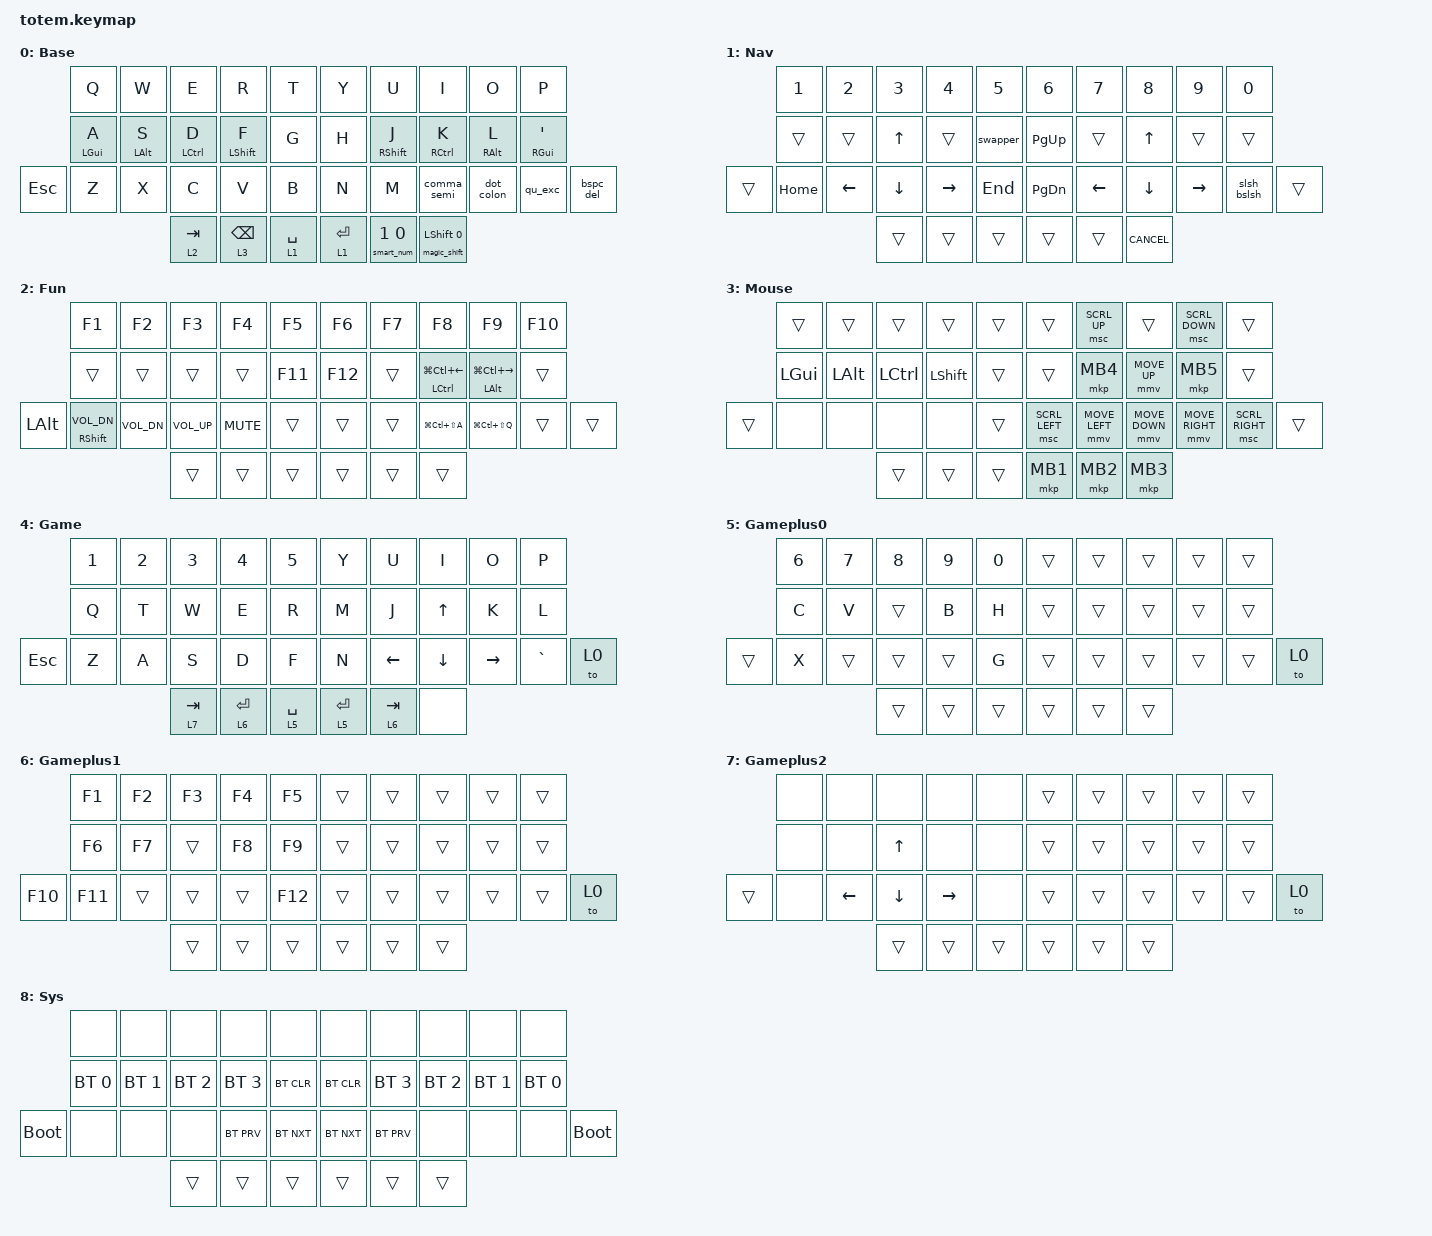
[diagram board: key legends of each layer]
#include <behaviors.dtsi>
#include <dt-bindings/zmk/keys.h>
#include <dt-bindings/zmk/bt.h>
#include <dt-bindings/zmk/outputs.h>
#include <behaviors/num_word.dtsi>
#include <dt-bindings/zmk/pointing.h>

#include "zmk-helpers/helper.h"
#include "zmk-helpers/key-labels/totem.h"
#include "behaviors/combos.dtsi"


// DEFINE LAYERS
#define Base        0
#define Nav		    1
#define Fun		    2
#define Mouse		3
#define Game		4
#define Gameplus0	5
#define Gameplus1	6
#define Gameplus2	7
#define Sys		    8


    // DEFINE Trans/None behavior
	#define ___ &trans
	#define XXX &none

	#define QUICK_TAP_MS 175

/* Home Row Mods */
		#define KEYS_L 4 3 2 1 0 14 13 12 11 10 25 24 23 22 21 20			// left-hand keys
		#define KEYS_R 5 6 7 8 9 15 16 17 18 19 26 27 28 29 30 31			// right-hand keys
		#define THUMBS 32 33 34 35 36 37									// thumb keys


#define MAKE_HRM(NAME, HOLD, TAP, TRIGGER_POS)                                 \
  ZMK_HOLD_TAP(NAME, bindings = <HOLD>, <TAP>; flavor = "balanced";            \
               tapping-term-ms = <280>; quick-tap-ms = <QUICK_TAP_MS>;         \
               require-prior-idle-ms = <150>; hold-trigger-on-release;         \
               hold-trigger-key-positions = <TRIGGER_POS>;)

MAKE_HRM(hml, &kp, &kp, KEYS_R THUMBS) // Left-hand HRMs.
MAKE_HRM(hmr, &kp, &kp, KEYS_L THUMBS) // Right-hand HRMs.


// Trigger tap-action on all interrupts - Nav cluster
#define MT_CORE                                                                \
  flavor = "tap-preferred";                                                    \
  tapping-term-ms = <220>;                                                     \
  quick-tap-ms = <220>;                                                        \
  hold-trigger-key-positions = <0>;

&mt { MT_CORE };

ZMK_HOLD_TAP(mt_home, bindings = <&masked_home>, <&kp>; MT_CORE)
ZMK_HOLD_TAP(mt_end, bindings = <&masked_end>, <&kp>; MT_CORE)


#define ZMK_COMBO_8(NAME, TAP, POS, LAYERS, COMBO_MS, IDLE_MS, HOLD, SIDE)     \
  MAKE_HRM(hm_combo_##NAME, &kp, TAP, SIDE THUMBS)                             \
  ZMK_COMBO_6(NAME, &hm_combo_##NAME HOLD 0, POS, LAYERS, COMBO_MS, IDLE_MS)

// Mask CTRL on left/right hold to avoid accidental jumps to start/end of doc.
#define MASK_MODS(NAME, MODS, BINDING)                                         \
  ZMK_MOD_MORPH(NAME, bindings = <BINDING>, <BINDING>; mods = <MODS>;)

MASK_MODS(masked_home, (MOD_LCTL), &kp HOME)
MASK_MODS(masked_end,  (MOD_LCTL), &kp END)


&lt {
    tapping-term-ms = <240>;
    flavor = "balanced";
    quick-tap-ms = <150>;
};

&msc {
    acceleration-exponent=<1>;
    delay-ms=<70>;
    time-to-max-speed-ms = <200>;
};

&mmv {
    acceleration-exponent=<0>;
    delay-ms=<60>;
    time-to-max-speed-ms = <200>;
};

// Misc aliases
#define CANCEL    &kp K_CANCEL            			// Cancel caps-word & auto-layers.
#define DSK_PREV  &hmr LCTRL LG(LC(LEFT)) 			// Previous desktop.
#define DSK_NEXT  &hmr LALT LG(LC(RIGHT)) 			// Next desktop.
#define PIN_WIN   &kp LG(LC(LS(Q)))       			// Pin window across desktops.
#define PIN_APP   &kp LG(LC(LS(A)))       			// Pin application across desktops.
#define VOL_DOWN  &hmr RSHFT C_VOL_DN				// Quick volume down



/* Magic-shift & auto-layers */

// Tap: repeat after alpha, else sticky-shift |
// Shift + tap/ double-tap: caps-word | Hold: shift.
	#define MAGIC_SHIFT &magic_shift LSHFT 0
		ZMK_HOLD_TAP(magic_shift, bindings = <&kp>, <&magic_shift_tap>;
             flavor = "balanced"; tapping-term-ms = <200>;
             quick-tap-ms = <QUICK_TAP_MS>;)
	
	ZMK_MOD_MORPH(magic_shift_tap, bindings = <&shift_repeat>, <&caps_word>;
              mods = <(MOD_LSFT)>;)

	ZMK_ADAPTIVE_KEY(
    	shift_repeat, bindings = <&sk LSHFT>;
    	repeat {
      		trigger-keys = <A B C D E F G H I J K L M N O P Q R S T U V W X Y Z>;
      		bindings = <&key_repeat>;
      		max-prior-idle-ms = <1200>;
      		strict-modifiers;
    	};)

// Mods deactivate caps-word, requires PR #1451. [TODO: rebase]
	&caps_word { 
  		/delete-property/ ignore-modifiers;
	};

// Tap: num-word | double-tap: sticky num-layer | Hold: num-layer.
	#define SMART_NUM &smart_num 1 0
	ZMK_HOLD_TAP(smart_num, bindings = <&mo>, <&num_dance>; flavor = "balanced";
            tapping-term-ms = <200>; quick-tap-ms = <QUICK_TAP_MS>;)
	ZMK_TAP_DANCE(num_dance, bindings = <&num_word 1>, <&sl 1>;
			tapping-term-ms = <200>;)

// Smart-mouse, requires tri-state module.
	ZMK_TRI_STATE(
    	smart_mouse, bindings = <&tog 3>, <&none>, <&tog 3>;
    	ignored-key-positions =
        	<3 2 34 33 6 7 8 15 16 17 18 19 27 28 29 35 36>;
    	ignored-layers = <1 2 3>;)

/* Custom behaviors */
// Alt+Tab swapper, requires tri-state module.
	ZMK_TRI_STATE(swapper, bindings = <&kt LALT>, <&kp TAB>, <&kt LALT>;
            ignored-key-positions = <2 7 16 17 18>;)

// Define mod-morph with a *single* mod trigger for less repetition.
	#define SIMPLE_MORPH(NAME, MOD, BINDING1, BINDING2)                            \
  		ZMK_MOD_MORPH(NAME, mods = <(MOD_L##MOD | MOD_R##MOD)>;                      \
                bindings = <BINDING1>, <BINDING2>;)

// Tap: comma | Shift + tap: semicolon | Ctrl + shift + tap: <.
	SIMPLE_MORPH(comma_morph, SFT, &kp COMMA, &comma_inner_morph)
	SIMPLE_MORPH(comma_inner_morph, CTL, &kp SEMICOLON, &kp LESS_THAN)

// Tap: dot | Shift + tap: colon | Ctrl + shift + tap: >.
	SIMPLE_MORPH(dot_morph, SFT, &kp DOT, &dot_inner_morph)
	SIMPLE_MORPH(dot_inner_morph, CTL, &kp COLON, &kp GREATER_THAN)

// Tap: qmark | Shift + tap: excl.
	SIMPLE_MORPH(qexcl, SFT, &kp QMARK, &kp EXCL)

// Tap: left/right parenthesis | Shft + tap: less-than/greater-than.
	SIMPLE_MORPH(lpar_lt, SFT, &kp LPAR, &kp LT)
	SIMPLE_MORPH(rpar_gt, SFT, &kp RPAR, &kp GT)

// Tap: space | Shift + tap: dot -> space -> sticky shift | Hold: nav layer.
	ZMK_HOLD_TAP(lt_spc, bindings = <&mo>, <&spc_morph>; flavor = "balanced";
             tapping-term-ms = <200>; quick-tap-ms = <QUICK_TAP_MS>;)
SIMPLE_MORPH(spc_morph, SFT, &kp SPACE, &dot_spc)
	ZMK_MACRO(dot_spc, bindings = <&kp DOT &kp SPACE &sk LSHFT>; wait-ms = <0>;
          tap-ms = <5>;)

// Tap: backspace | Lshft + tap: delete | Rshft + tap: shift-delete.
	ZMK_MOD_MORPH(bs_del, bindings = <&kp BSPC>, <&kp DEL>;
              mods = <(MOD_LSFT|MOD_RSFT)>; keep-mods = <MOD_RSFT>;)

// Tap: copy | double-tap: cut.
	ZMK_TAP_DANCE(copy_cut, bindings = <&kp LC(INS)>, <&kp LC(X)>;
              tapping-term-ms = <200>;)


/* Keymap */
ZMK_CONDITIONAL_LAYER(sys, 2 1, 8)

/ {
		behaviors {

			dot_colon: dot_colon {
            	compatible = "zmk,behavior-mod-morph";
            	#binding-cells = <0>;
            	bindings = <&kp DOT>, <&kp COLON>;
            	mods = <(MOD_LSFT|MOD_RSFT)>;
        	};

			comma_semi: comma_semi {
            	compatible = "zmk,behavior-mod-morph";
            	#binding-cells = <0>;
            	bindings = <&kp COMMA>, <&kp SEMI>;
            	mods = <(MOD_LSFT|MOD_RSFT)>;
        	};

			qu_exc: qu_exc {
            	compatible = "zmk,behavior-mod-morph";
            	#binding-cells = <0>;
            	bindings = <&kp QUESTION>, <&kp EXCLAMATION>;
            	mods = <(MOD_LSFT|MOD_RSFT)>;
        	};

		// tap: backspace | shift + tap: delete
			bspc_del: backspace_delete {
				compatible = "zmk,behavior-mod-morph";
				#binding-cells = <0>;
				bindings = <&kp BSPC>, <&kp DEL>;
				mods = <(MOD_LSFT|MOD_RSFT)>;
			};

		// tap: slash | shift + tap: backslash
			slsh_bslsh: slsh_bslsh {
				compatible = "zmk,behavior-mod-morph";
				#binding-cells = <0>;
				bindings = <&kp FSLH>, <&kp BSLH>;
				mods = <(MOD_LSFT|MOD_RSFT)>;
			};

		};



		keymap {
    				compatible = "zmk,keymap";

    		Base {
        		display-name = "Base";
        			bindings = <
				//				 ╭─────────────┬─────────────┬─────────────┬─────────────┬─────────────╮  ╭─────────────┬─────────────┬─────────────┬─────────────┬─────────────╮
									  &kp Q         &kp W         &kp E         &kp R         &kp T        	   &kp Y    	 &kp U        &kp I         &kp O         &kp P
				//				 ├─────────────┼─────────────┼─────────────┼─────────────┼─────────────┤  ├─────────────┼─────────────┼─────────────┼─────────────┼─────────────┤
								   &hml LGUI A	 &hml LALT S   &hml LCTRL D  &hml LSHFT F  	  &kp G            &kp H	  &hmr RSHFT J  &hmr RCTRL K  &hmr RALT L   &hmr RGUI SQT
				// ╭─────────────┼─────────────┼─────────────┼─────────────┼─────────────┼─────────────┤  ├─────────────┼─────────────┼─────────────┼─────────────┼─────────────┼─────────────╮
						&kp ESC  	  &kp Z         &kp X         &kp C         &kp V         &kp B        	   &kp N    	 &kp M      &comma_semi	   &dot_colon     &qu_exc      &bspc_del
				// ╰─────────────┴─────────────┴─────────────┼─────────────┼─────────────┼─────────────┤  ├─────────────┼─────────────┼─────────────┼─────────────┴─────────────┴─────────────╯
																&lt 2 TAB     &lt 3 BSPC    &lt 1 SPACE    	 &lt 1 RET	   SMART_NUM    MAGIC_SHIFT
				//                            				 ╰─────────────┴─────────────┴─────────────╯  ╰─────────────┴─────────────┴─────────────╯
                	>;
    			};


    		Nav {
        		display-name = "Nav";
        			bindings = <
				//				 ╭─────────────┬─────────────┬─────────────┬─────────────┬─────────────╮  ╭─────────────┬─────────────┬─────────────┬─────────────┬─────────────╮
								   &kp NUMBER_1  &kp NUMBER_2  &kp NUMBER_3  &kp NUMBER_4  &kp NUMBER_5   	&kp NUMBER_6  &kp NUMBER_7  &kp NUMBER_8  &kp NUMBER_9  &kp NUMBER_0
				//				 ├─────────────┼─────────────┼─────────────┼─────────────┼─────────────┤  ├─────────────┼─────────────┼─────────────┼─────────────┼─────────────┤
								       ___           ___          &kp UP	     ___         &swapper        &kp PG_UP        ___          &kp UP	      ___           ___
				// ╭─────────────┼─────────────┼─────────────┼─────────────┼─────────────┼─────────────┤  ├─────────────┼─────────────┼─────────────┼─────────────┼─────────────┼─────────────╮
						___          &kp HOME  	  &kp LEFT       &kp DOWN     &kp RIGHT      &kp END         &kp PG_DN     &kp LEFT      &kp DOWN	   &kp RIGHT   	&slsh_bslsh       ___
				// ╰─────────────┴─────────────┴─────────────┼─────────────┼─────────────┼─────────────┤  ├─────────────┼─────────────┼─────────────┼─────────────┴─────────────┴─────────────╯
																   ___           ___           ___              ___	   		  ___		   CANCEL
				// 											 ╰─────────────┴─────────────┴─────────────╯  ╰─────────────┴─────────────┴─────────────╯
                  	>;
    			};


    		Fun {
        		display-name = "Fun";
        			bindings = <
				//				 ╭─────────────┬─────────────┬─────────────┬─────────────┬─────────────╮  ╭─────────────┬─────────────┬─────────────┬─────────────┬─────────────╮
									 &kp F1  	   &kp F2   	  &kp F3   	    &kp F4  	  &kp F5	 	   &kp F6  	     &kp F7   	   &kp F8   	 &kp F9  	  &kp F10
				//				 ├─────────────┼─────────────┼─────────────┼─────────────┼─────────────┤  ├─────────────┼─────────────┼─────────────┼─────────────┼─────────────┤
									   ___ 	  	     ___  		   ___           ___   	     &kp F11    	  &kp F12  	  	  ___	      DSK_PREV	    DSK_NEXT		___
				// ╭─────────────┼─────────────┼─────────────┼─────────────┼─────────────┼─────────────┤  ├─────────────┼─────────────┼─────────────┼─────────────┼─────────────┼─────────────╮
					   &kp LALT  	 VOL_DOWN    &kp C_VOL_DN  &kp C_VOL_UP   &kp C_MUTE   	   ___    		    ___			  ___		   PIN_APP		PIN_WIN			___			  ___ 
				// ╰─────────────┴─────────────┴─────────────┼─────────────┼─────────────┼─────────────┤  ├─────────────┼─────────────┼─────────────┼─────────────┴─────────────┴─────────────╯
																	___ 	  	 ___  		   ___    		    ___  	  	  ___  		    ___
				//                            				 ╰─────────────┴─────────────┴─────────────╯  ╰─────────────┴─────────────┴─────────────╯
                  	>;
    			};


			Mouse {
        		display-name = "Mouse";
        			bindings = <
				//				 ╭─────────────┬─────────────┬─────────────┬─────────────┬─────────────╮  ╭─────────────┬─────────────┬─────────────┬─────────────┬─────────────╮
									   ___  	     ___  		   ___  	  	 ___  		   ___    			___		 &msc SCRL_UP       ___		 &msc SCRL_DOWN     ___
				//				 ├─────────────┼─────────────┼─────────────┼─────────────┼─────────────┤  ├─────────────┼─────────────┼─────────────┼─────────────┼─────────────┤
									&kp LGUI      &kp LALT     &kp LCTRL  	 &kp LSHFT		   ___        	    ___		   &mkp MB4     &mmv MOVE_UP    &mkp MB5		___
				// ╭─────────────┼─────────────┼─────────────┼─────────────┼─────────────┼─────────────┤  ├─────────────┼─────────────┼─────────────┼─────────────┼─────────────┼─────────────╮
						___  		   XXX       	 XXX  		   XXX  	  	 XXX  		   ___    	  &msc SCRL_LEFT  &mmv MOVE_LEFT  &mmv MOVE_DOWN  &mmv MOVE_RIGHT  &msc SCRL_RIGHT 	  ___
				// ╰─────────────┴─────────────┴─────────────┼─────────────┼─────────────┼─────────────┤  ├─────────────┼─────────────┼─────────────┼─────────────┴─────────────┴─────────────╯
																   ___  	  	 ___  		   ___   		  &mkp MB1      &mkp MB2      &mkp MB3 
				//                            				 ╰─────────────┴─────────────┴─────────────╯  ╰─────────────┴─────────────┴─────────────╯
                  	>;
    			};


    		Game {
        		display-name = "Game";
        			bindings = <
				//				 ╭─────────────┬─────────────┬─────────────┬─────────────┬─────────────╮  ╭─────────────┬─────────────┬─────────────┬─────────────┬─────────────╮
								   &kp NUMBER_1  &kp NUMBER_2  &kp NUMBER_3  &kp NUMBER_4  &kp NUMBER_5        &kp Y  	     &kp U  	   &kp I  	 	 &kp O  	   &kp P
				//				 ├─────────────┼─────────────┼─────────────┼─────────────┼─────────────┤  ├─────────────┼─────────────┼─────────────┼─────────────┼─────────────┤
									  &kp Q         &kp T  		  &kp W         &kp E		  &kp R     	   &kp M 	     &kp J  	   &kp UP        &kp K         &kp L
				// ╭─────────────┼─────────────┼─────────────┼─────────────┼─────────────┼─────────────┤  ├─────────────┼─────────────┼─────────────┼─────────────┼─────────────┼─────────────╮
					   &kp ESC 	      &kp Z         &kp A  		  &kp S         &kp D		  &kp F     	   &kp N  	    &kp LEFT	  &kp DOWN     &kp RIGHT     &kp GRAVE 	    &to 0
				// ╰─────────────┴─────────────┴─────────────┼─────────────┼─────────────┼─────────────┤  ├─────────────┼─────────────┼─────────────┼─────────────┴─────────────┴─────────────╯
																&lt 7 TAB     &lt 6 RET    &lt 5 SPACE       &lt 5 RET	   &lt 6 TAB 		XXX
				//                            				 ╰─────────────┴─────────────┴─────────────╯  ╰─────────────┴─────────────┴─────────────╯
                  	>;
    			};

    		Gameplus0 {
        		display-name = "Gameplus0";
        			bindings = <
				//				 ╭─────────────┬─────────────┬─────────────┬─────────────┬─────────────╮  ╭─────────────┬─────────────┬─────────────┬─────────────┬─────────────╮
								   &kp NUMBER_6  &kp NUMBER_7  &kp NUMBER_8  &kp NUMBER_9  &kp NUMBER_0     	___  	      ___  	        ___  	 	  ___  	        ___
				//				 ├─────────────┼─────────────┼─────────────┼─────────────┼─────────────┤  ├─────────────┼─────────────┼─────────────┼─────────────┼─────────────┤
								      &kp C         &kp V  		   ___         &kp B		  &kp H             ___  	      ___  	        ___           ___           ___
				// ╭─────────────┼─────────────┼─────────────┼─────────────┼─────────────┼─────────────┤  ├─────────────┼─────────────┼─────────────┼─────────────┼─────────────┼─────────────╮
					      ___         &kp X          ___  		   ___           ___		  &kp G             ___  	      ___           ___ 	      ___   	    ___          &to 0
				// ╰─────────────┴─────────────┴─────────────┼─────────────┼─────────────┼─────────────┤  ├─────────────┼─────────────┼─────────────┼─────────────┴─────────────┴─────────────╯
																   ___           ___           ___     	        ___	   	      ___ 		    ___
				//                            				 ╰─────────────┴─────────────┴─────────────╯  ╰─────────────┴─────────────┴─────────────╯
                  	>;
    			};

			Gameplus1 {
        		display-name = "Gameplus1";
        			bindings = <
				//				 ╭─────────────┬─────────────┬─────────────┬─────────────┬─────────────╮  ╭─────────────┬─────────────┬─────────────┬─────────────┬─────────────╮
								      &kp F1	   &kp F2		 &kp F3        &kp F4        &kp F5    	        ___  	      ___  	        ___  	      ___  	        ___
				//				 ├─────────────┼─────────────┼─────────────┼─────────────┼─────────────┤  ├─────────────┼─────────────┼─────────────┼─────────────┼─────────────┤
								      &kp F6	   &kp F7		   ___        &kp F8         &kp F9	 	        ___  	      ___  	        ___           ___           ___
				// ╭─────────────┼─────────────┼─────────────┼─────────────┼─────────────┼─────────────┤  ├─────────────┼─────────────┼─────────────┼─────────────┼─────────────┼─────────────╮
					    &kp F10  	  &kp F11	     ___		   ___           ___         &kp F12            ___  	      ___           ___ 	      ___           ___   	    &to 0
				// ╰─────────────┴─────────────┴─────────────┼─────────────┼─────────────┼─────────────┤  ├─────────────┼─────────────┼─────────────┼─────────────┴─────────────┴─────────────╯
																   ___           ___           ___     	        ___	   	      ___ 		    ___
				//                            				 ╰─────────────┴─────────────┴─────────────╯  ╰─────────────┴─────────────┴─────────────╯
                  	>;
    			};

			Gameplus2 {
        		display-name = "Gameplus2";
        			bindings = <
				//				 ╭─────────────┬─────────────┬─────────────┬─────────────┬─────────────╮  ╭─────────────┬─────────────┬─────────────┬─────────────┬─────────────╮
									   XXX  	     XXX  	       XXX  		 XXX  		   XXX    	        ___  	      ___  	        ___  	      ___  	        ___
				//				 ├─────────────┼─────────────┼─────────────┼─────────────┼─────────────┤  ├─────────────┼─────────────┼─────────────┼─────────────┼─────────────┤
								       XXX 	         XXX         &kp UP	         XXX  	       XXX	 	        ___  	      ___  	        ___           ___           ___
				// ╭─────────────┼─────────────┼─────────────┼─────────────┼─────────────┼─────────────┤  ├─────────────┼─────────────┼─────────────┼─────────────┼─────────────┼─────────────╮
					     ___ 	       XXX	      &kp LEFT		 &kp DOWN     &kp RIGHT        XXX              ___ 	      ___  	        ___           ___	        ___   	    &to 0
				// ╰─────────────┴─────────────┴─────────────┼─────────────┼─────────────┼─────────────┤  ├─────────────┼─────────────┼─────────────┼─────────────┴─────────────┴─────────────╯
																   ___           ___           ___     	        ___	   	      ___ 		    ___
				//                            				 ╰─────────────┴─────────────┴─────────────╯  ╰─────────────┴─────────────┴─────────────╯
                  	>;
    			};

            Sys {
        		display-name = "Sys";
        			bindings = <
				//				 ╭─────────────┬─────────────┬─────────────┬─────────────┬─────────────╮  ╭─────────────┬─────────────┬─────────────┬─────────────┬─────────────╮
									   XXX  		 XXX  		   XXX  		 XXX      	   XXX    			XXX    		  XXX 	  	  	XXX  	   	  XXX  	        XXX
				//				 ├─────────────┼─────────────┼─────────────┼─────────────┼─────────────┤  ├─────────────┼─────────────┼─────────────┼─────────────┼─────────────┤
								   &bt BT_SEL 0	 &bt BT_SEL 1  &bt BT_SEL 2  &bt BT_SEL 3  	&bt BT_CLR    	 &bt BT_CLR  &bt BT_SEL 3  &bt BT_SEL 2  &bt BT_SEL 1  &bt BT_SEL 0
				// ╭─────────────┼─────────────┼─────────────┼─────────────┼─────────────┼─────────────┤  ├─────────────┼─────────────┼─────────────┼─────────────┼─────────────┼─────────────╮
					 &bootloader  	   XXX           XXX  		   XXX  	  &bt BT_PRV  	&bt BT_NXT    	 &bt BT_NXT	  &bt BT_PRV 		XXX  	   	  XXX   		XXX  	  &bootloader 
				// ╰─────────────┴─────────────┴─────────────┼─────────────┼─────────────┼─────────────┤  ├─────────────┼─────────────┼─────────────┼─────────────┴─────────────┴─────────────╯
																   ___  	  	 ___ 		   ___   		    ___  	      ___  		    ___
				//                            				 ╰─────────────┴─────────────┴─────────────╯  ╰─────────────┴─────────────┴─────────────╯
                  	>;
    			};
		};
};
